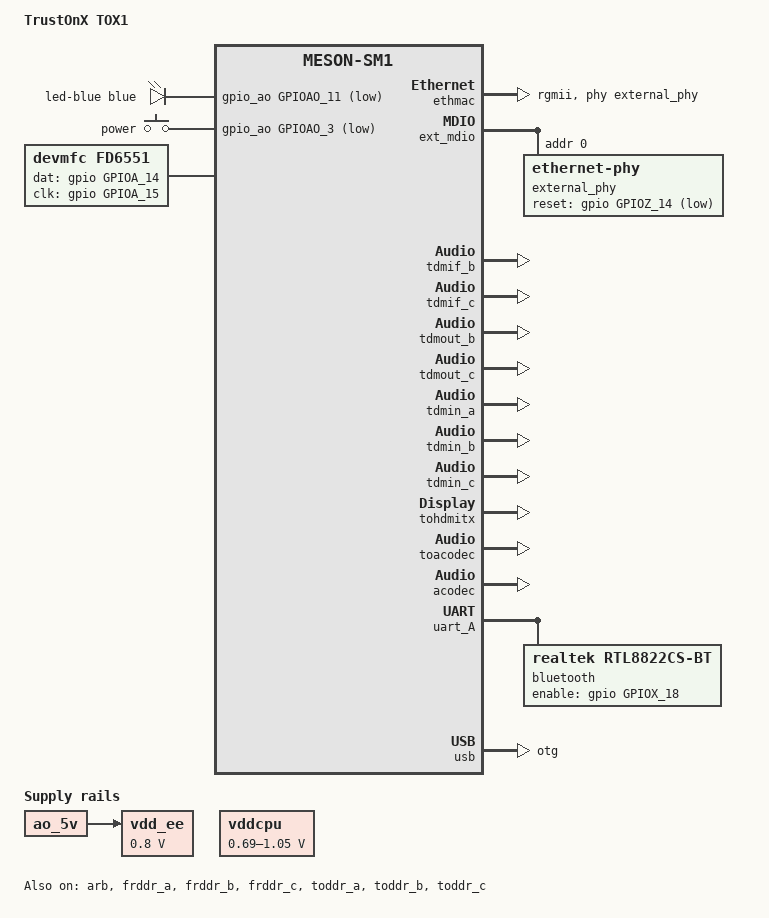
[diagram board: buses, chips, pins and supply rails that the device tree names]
// SPDX-License-Identifier: (GPL-2.0+ OR MIT)
/*
 * Copyright (c) 2019 BayLibre SAS. All rights reserved.
 * Copyright (c) 2020 Christian Hewitt <christianshewitt@gmail.com>
 */

/dts-v1/;

#include "meson-sm1-ac2xx.dtsi"
#include <dt-bindings/leds/common.h>
#include <dt-bindings/sound/meson-g12a-tohdmitx.h>
#include <dt-bindings/sound/meson-g12a-toacodec.h>

/ {
	compatible = "TOX1", "amlogic,sm1";
	model = "TrustOnX TOX1";

	/delete-node/ memory@0;

	sound {
		compatible = "amlogic,axg-sound-card";
		model = "MESONSM1AC2XX";
		audio-widgets = "Line", "Lineout";
		audio-aux-devs = <&tdmout_b>, <&tdmout_c>,
				 <&tdmin_a>, <&tdmin_b>, <&tdmin_c>;
		audio-routing = "TDMOUT_B IN 0", "FRDDR_A OUT 1",
				"TDMOUT_B IN 1", "FRDDR_B OUT 1",
				"TDMOUT_B IN 2", "FRDDR_C OUT 1",
				"TDM_B Playback", "TDMOUT_B OUT",
				"TDMOUT_C IN 0", "FRDDR_A OUT 2",
				"TDMOUT_C IN 1", "FRDDR_B OUT 2",
				"TDMOUT_C IN 2", "FRDDR_C OUT 2",
				"TDM_C Playback", "TDMOUT_C OUT",
				"TDMIN_A IN 4", "TDM_B Loopback",
				"TDMIN_B IN 4", "TDM_B Loopback",
				"TDMIN_C IN 4", "TDM_B Loopback",
				"TDMIN_A IN 5", "TDM_C Loopback",
				"TDMIN_B IN 5", "TDM_C Loopback",
				"TDMIN_C IN 5", "TDM_C Loopback",
				"TODDR_A IN 0", "TDMIN_A OUT",
				"TODDR_B IN 0", "TDMIN_A OUT",
				"TODDR_C IN 0", "TDMIN_A OUT",
				"TODDR_A IN 1", "TDMIN_B OUT",
				"TODDR_B IN 1", "TDMIN_B OUT",
				"TODDR_C IN 1", "TDMIN_B OUT",
				"TODDR_A IN 2", "TDMIN_C OUT",
				"TODDR_B IN 2", "TDMIN_C OUT",
				"TODDR_C IN 2", "TDMIN_C OUT",
				"Lineout", "ACODEC LOLP",
				"Lineout", "ACODEC LORP";

		assigned-clocks = <&clkc CLKID_MPLL2>,
				  <&clkc CLKID_MPLL0>,
				  <&clkc CLKID_MPLL1>;
		assigned-clock-parents = <0>, <0>, <0>;
		assigned-clock-rates = <294912000>,
				       <270950400>,
				       <393216000>;
		status = "okay";

		dai-link-0 {
			sound-dai = <&frddr_a>;
		};

		dai-link-1 {
			sound-dai = <&frddr_b>;
		};

		dai-link-2 {
			sound-dai = <&frddr_c>;
		};

		dai-link-3 {
			sound-dai = <&toddr_a>;
		};

		dai-link-4 {
			sound-dai = <&toddr_b>;
		};

		dai-link-5 {
			sound-dai = <&toddr_c>;
		};

		/* 8ch hdmi interface */
		dai-link-6 {
			sound-dai = <&tdmif_b>;
			dai-format = "i2s";
			dai-tdm-slot-tx-mask-0 = <1 1>;
			dai-tdm-slot-tx-mask-1 = <1 1>;
			dai-tdm-slot-tx-mask-2 = <1 1>;
			dai-tdm-slot-tx-mask-3 = <1 1>;
			mclk-fs = <256>;

			codec-0 {
				sound-dai = <&tohdmitx TOHDMITX_I2S_IN_B>;
			};

			codec-1 {
				sound-dai = <&toacodec TOACODEC_IN_B>;
			};
		};

		/* i2s interface */
		dai-link-7 {
			sound-dai = <&tdmif_c>;
			dai-format = "i2s";
			dai-tdm-slot-tx-mask-0 = <1 1>;
			mclk-fs = <256>;

			codec-0 {
				sound-dai = <&tohdmitx TOHDMITX_I2S_IN_C>;
			};

			codec-1 {
				sound-dai = <&toacodec TOACODEC_IN_C>;
			};
		};

		/* hdmi glue */
		dai-link-8 {
			sound-dai = <&tohdmitx TOHDMITX_I2S_OUT>;

			codec {
				sound-dai = <&hdmi_tx>;
			};
		};

		/* internal codec glue */
		dai-link-9 {
			sound-dai = <&toacodec TOACODEC_OUT>;

			codec {
				sound-dai = <&acodec>;
			};
		};
	};

	vdd_ee: regulator-vdd_ee {
		compatible = "regulator-fixed";
		regulator-name = "vdd_ee";
		regulator-min-microvolt = <800000>;
		regulator-max-microvolt = <800000>;
		vin-supply = <&ao_5v>;
		regulator-always-on;
		regulator-boot-on;
	};

	led-controller {
		compatible = "gpio-leds";

		led-blue {
			color = <LED_COLOR_ID_BLUE>;
			function = LED_FUNCTION_STATUS;
			gpios = <&gpio_ao GPIOAO_11 GPIO_ACTIVE_LOW>;
			linux,default-trigger = "rc-feedback";
			default-state = "off";
			panic-indicator;
		};
	};

	gpio-keys-polled {
		compatible = "gpio-keys-polled";
		poll-interval = <100>;
		#address-cells = <0x01>;
		#size-cells = <0x00>;

		power-button {
			wakeup-source;
			label = "power";
			linux,code = <KEY_POWER>;
			gpios = <&gpio_ao GPIOAO_3 GPIO_ACTIVE_LOW>;
		};
	};

	fd6551 {
		compatible = "devmfc,fd6551";
		dat-gpios = <&gpio GPIOA_14 GPIO_OPEN_DRAIN>;
		clk-gpios = <&gpio GPIOA_15 GPIO_OPEN_DRAIN>;
		segment-mapping = <0x10203 0x40506ff
				   0x10111213 0x141516ff
				   0x20212223 0x242526ff
				   0x30313233 0x343536ff
				   0x454041ff 0x46ffffff
				   0x444243ff 0xff45ffff>;
		status = "okay";
	};
};

&vddcpu {
	regulator-min-microvolt = <690000>;
	regulator-max-microvolt = <1050000>;
	pwms = <&pwm_AO_cd 1 1500 0>;
	regulator-ramp-delay = <2500>;
};

&cpu_opp_table {
	opp-100000000 {
		opp-hz = /bits/ 64 <100000000>;
		opp-microvolt = <730000>;
	};

	opp-250000000 {
		opp-hz = /bits/ 64 <250000000>;
		opp-microvolt = <730000>;
	};

	opp-500000000 {
		opp-hz = /bits/ 64 <500000000>;
		opp-microvolt = <730000>;
	};

	opp-667000000 {
		opp-hz = /bits/ 64 <666666666>;
		opp-microvolt = <750000>;
	};

	/delete-node/ opp-2016000000;
	/delete-node/ opp-2100000000;
};

/delete-node/ &openvfd;

&cpu0 {
	/delete-property/ clock-latency;
};

&cpu1 {
	/delete-property/ clock-latency;
};

&cpu2 {
	/delete-property/ clock-latency;
};

&cpu3 {
	/delete-property/ clock-latency;
};

&arb {
	status = "okay";
};

&clkc_audio {
	status = "okay";
};

&ethmac {
	status = "okay";
	pinctrl-0 = <&eth_pins>, <&eth_rgmii_pins>;
	pinctrl-names = "default";
	phy-handle = <&external_phy>;
	phy-mode = "rgmii";
	amlogic,rx-delay-ns = <0>;
	rx-internal-delay-ps = <200>;
};

&ext_mdio {
	external_phy: ethernet-phy@0 {
		reg = <0>;
		max-speed = <1000>;
		eee-broken-1000t;

		reset-assert-us = <10000>;
		reset-deassert-us = <80000>;
		reset-gpios = <&gpio GPIOZ_14 (GPIO_ACTIVE_LOW | GPIO_OPEN_DRAIN)>;

		interrupt-parent = <&gpio_intc>;
		interrupts = <IRQID_GPIOZ_15 IRQ_TYPE_LEVEL_LOW>;
	};
};

&frddr_a {
	status = "okay";
};

&frddr_b {
	status = "okay";
};

&frddr_c {
	status = "okay";
};

&toddr_a {
	status = "okay";
};

&toddr_b {
	status = "okay";
};

&toddr_c {
	status = "okay";
};

&tdmif_b {
	status = "okay";
};

&tdmif_c {
	status = "okay";
};

&tdmout_b {
	status = "okay";
};

&tdmout_c {
	status = "okay";
};

&tdmin_a {
	status = "okay";
};

&tdmin_b {
	status = "okay";
};

&tdmin_c {
	status = "okay";
};

&tohdmitx {
	status = "okay";
};

&toacodec {
	status = "okay";
};

&acodec {
	status = "okay";
};

&uart_A {
	status = "okay";
	pinctrl-0 = <&uart_a_pins>, <&uart_a_cts_rts_pins>;
	pinctrl-names = "default";
	uart-has-rtscts;
	amlogic,xtal_tick_en = <0x02>;
	amlogic,uart-fifosize = <0x80>;

	bluetooth {
		compatible = "realtek,rtl8822cs-bt";
		enable-gpios = <&gpio GPIOX_18 GPIO_ACTIVE_HIGH>;
		max-speed = <1500000>;
	};
};

&ir {
	linux,rc-map-name = "rc-x96max";
};

&mali {
	mali-supply = <&vdd_ee>;
};

&usb {
	dr_mode = "otg";
};

&sdio_pwrseq {
	/* TOX1 Wi-Fi power-enable; the shared AC2xx default is GPIOX_6. */
	reset-gpios = <&gpio GPIOX_7 GPIO_ACTIVE_LOW>;
	post-power-on-delay-ms = <200>;
	power-off-delay-us = <10000>;
};

&sdio_pins {
	mux {
		/delete-property/ bias-disable;
		bias-pull-up;
	};
};

/* SDIO */
&sd_emmc_a {
	/delete-property/ sd-uhs-sdr104;
	max-frequency = <50000000>;
};
